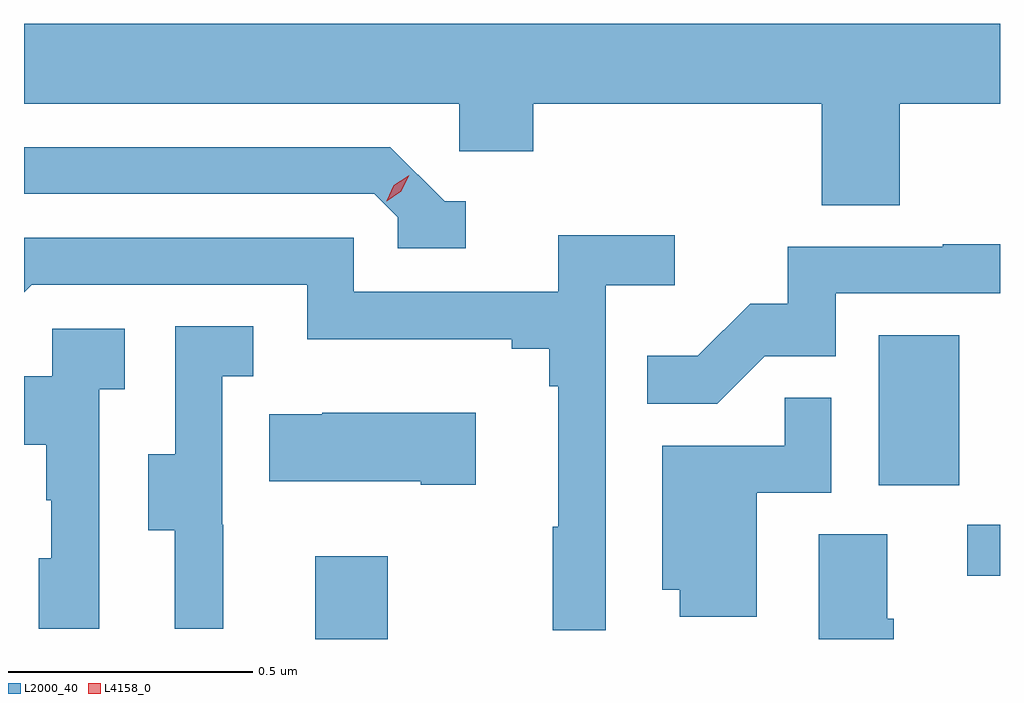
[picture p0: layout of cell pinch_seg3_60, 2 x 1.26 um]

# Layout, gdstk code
import gdstk
lib = gdstk.Library(unit=1e-6, precision=1e-09)
def R(c, l, rs):  # rectangles x0, y0, x1, y1
    for r in rs: c.add(gdstk.rectangle(r[:2], r[2:], *l))
def P(c, l, *ps):  # polygons
    for p in ps: c.add(gdstk.Polygon(p, *l))
L2000_40 = (2000, 40)
L4158_0 = (4158, 0)

pinch_seg3_60 = lib.new_cell('pinch_seg3_60')
R(pinch_seg3_60, L2000_40, [(1062.419,737.114,1062.567,737.284), (1063.755,737.244,1063.822,737.349), (1063.574,737.43,1063.738,737.737)])
P(pinch_seg3_60, L2000_40, [(1063.617,738.212),(1063.822,738.212),(1063.822,738.376),(1061.822,738.376),(1061.822,738.212),(1062.714,738.212),(1062.714,738.114),(1062.866,738.114),(1062.866,738.212),(1063.457,738.212),(1063.457,738.004),(1063.617,738.004)],
  [(1062.727,738.012),(1062.684,738.012),(1062.573,738.123),(1061.822,738.123),(1061.822,738.027),(1062.54,738.027),(1062.588,737.979),(1062.588,737.916),(1062.727,737.916)],
  [(1063.014,737.84),(1063.156,737.84),(1063.156,737.942),(1062.917,737.942),(1062.917,737.826),(1062.498,737.826),(1062.498,737.937),(1061.822,737.937),(1061.822,737.825),(1061.838,737.841),(1062.402,737.841),(1062.402,737.729),(1062.821,737.729),(1062.821,737.71),(1062.898,737.71),(1062.898,737.633),(1062.917,737.633),(1062.917,737.345),(1062.906,737.345),(1062.906,737.133),(1063.014,737.133)],
  [(1063.34,737.694),(1063.485,737.694),(1063.485,737.823),(1063.822,737.823),(1063.822,737.924),(1063.705,737.924),(1063.705,737.919),(1063.387,737.919),(1063.387,737.802),(1063.31,737.802),(1063.203,737.695),(1063.099,737.695),(1063.099,737.597),(1063.243,737.597)],
  [(1062.23,737.349),(1062.228,737.349),(1062.228,737.653),(1062.292,737.653),(1062.292,737.756),(1062.132,737.756),(1062.132,737.493),(1062.077,737.493),(1062.077,737.338),(1062.131,737.338),(1062.131,737.136),(1062.23,737.136)],
  [(1061.976,737.627),(1062.028,737.627),(1062.028,737.751),(1061.88,737.751),(1061.88,737.653),(1061.822,737.653),(1061.822,737.513),(1061.868,737.513),(1061.868,737.399),(1061.878,737.399),(1061.878,737.28),(1061.852,737.28),(1061.852,737.136),(1061.976,737.136)],
  [(1063.324,737.415),(1063.476,737.415),(1063.476,737.609),(1063.381,737.609),(1063.381,737.511),(1063.13,737.511),(1063.13,737.216),(1063.166,737.216),(1063.166,737.16),(1063.324,737.16)],
  [(1062.748,737.578),(1062.433,737.578),(1062.433,737.575),(1062.325,737.575),(1062.325,737.438),(1062.635,737.438),(1062.635,737.431),(1062.748,737.431)],
  [(1063.604,737.156),(1063.591,737.156),(1063.591,737.33),(1063.451,737.33),(1063.451,737.114),(1063.604,737.114)])
P(pinch_seg3_60, L4158_0, [(1062.565,738.012),(1062.565,738.013),(1062.58,738.045),(1062.611,738.065),(1062.611,738.065),(1062.611,738.065),(1062.595,738.032),(1062.565,738.012)])

lib.write_gds('pinch_seg3_60.gds')
